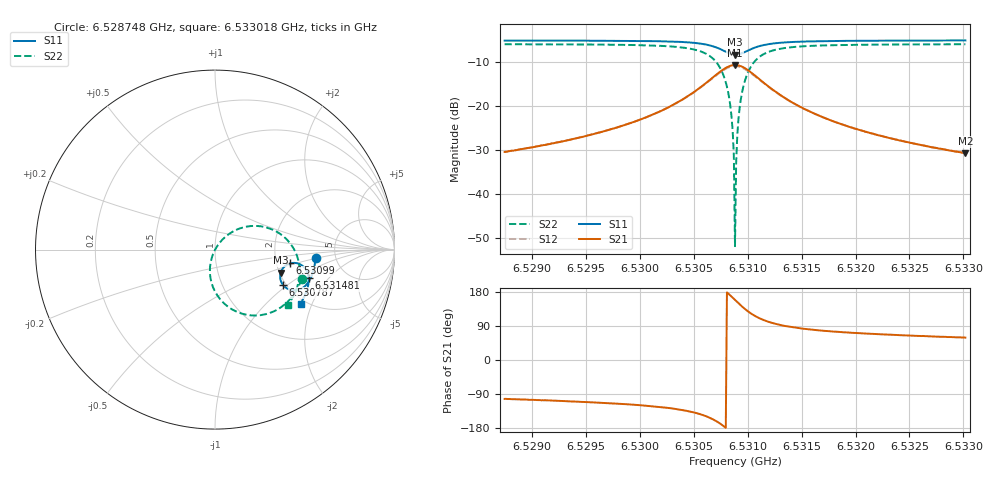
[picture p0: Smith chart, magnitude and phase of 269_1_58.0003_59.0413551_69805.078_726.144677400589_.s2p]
#  HZ  S  RI  R  50.00
! Rohde & Schwarz Vector Network Analyzer
! Rohde-Schwarz,ZNB20-2Port,1311601062101988,3.16
! Created: UTC 3/21/2024, 1:02:17 AM
! freq[Hz]  re:S11  im:S11  re:S21  im:S21  re:S12  im:S12  re:S22  im:S22
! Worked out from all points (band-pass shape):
!   401 points, 6.528748 GHz to 6.533018 GHz, reference 50 ohm
!   highest |S21| = -10.59 dB at 6.530883 GHz (marker M1); lowest = -30.7 dB at 6.533018 GHz (marker M2)
!   |S21| within 3 dB of the highest: 6.53067 GHz to 6.531098 GHz (427.1 kHz wide, 0.00654 % of centre)
!   lowest |S11| = -8.2 dB at 6.530883 GHz (marker M3), VSWR 2.27, Z = 101 - j30.9 ohm
!   |S11| at or under -10 dB: nowhere
!   |S22| runs from -52.0 to -5.8 dB; largest |S21 - S12| = 0.012
!   S11 on the Smith chart (normalised r, x): 6.528748 GHz: 3.50, -0.47; 6.530787 GHz: 1.93, -0.92; 6.53099 GHz: 2.38, -0.45; 6.531481 GHz: 2.76, -1.26; 6.533018 GHz: 1.87, -1.65
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6.5287483e9  0.5602 -0.0462  -0.0066 -0.0293  -0.00702 -0.0292  0.4841 -0.1625
6.5294635e9  0.5511 -0.1054  -0.0155 -0.0416  -0.0166 -0.0414  0.4541 -0.2267
6.5301787e9  0.5242 -0.1757  -0.0479 -0.0717  -0.0499 -0.0704  0.3747 -0.3163
6.5306057e9  0.4558 -0.2261  -0.1518 -0.0972  -0.1542 -0.0912  0.1754 -0.3628
6.5307125e9  0.4124 -0.2219  -0.2193 -0.072  -0.2185 -0.0629  0.062 -0.3098
6.5307872e9  0.3782 -0.1961  -0.2688 -0.0157  -0.2635 -0.00623  -0.0122 -0.2067
6.5308192e9  0.3676 -0.1768  -0.282 0.0214  -0.2745 0.0299  -0.0273 -0.1428
6.5308406e9  0.3638 -0.1617  -0.2855 0.0495  -0.2765 0.0568  -0.0276 -0.0959
6.5308512e9  0.363 -0.1536  -0.2849 0.0644  -0.2756 0.0706  -0.0243 -0.0719
6.5308619e9  0.363 -0.1454  -0.2833 0.079  -0.2733 0.0844  -0.0188 -0.0484
6.5308726e9  0.364 -0.1372  -0.28 0.0936  -0.2697 0.0982  -0.0108 -0.0249
6.5308833e9  0.3659 -0.1292  -0.2752 0.1079  -0.2648 0.1116  -0.000349 -0.0025
6.5309046e9  0.3721 -0.1139  -0.2615 0.1347  -0.2513 0.1366  0.0265 0.0389
6.5309153e9  0.3763 -0.1069  -0.253 0.1469  -0.2429 0.1478  0.0426 0.0571
6.5309366e9  0.3868 -0.0948  -0.2328 0.1679  -0.2236 0.1674  0.0793 0.0878
6.53099e9  0.4186 -0.0768  -0.1748 0.1992  -0.1682 0.1965  0.1802 0.1287
6.5310541e9  0.4548 -0.0754  -0.1111 0.2033  -0.1072 0.2002  0.2874 0.123
6.5311501e9  0.4911 -0.0933  -0.0487 0.1787  -0.0466 0.1768  0.3886 0.0674
6.531481e9  0.5223 -0.1602  0.0108 0.0988  0.0119 0.0985  0.4708 -0.0983
6.5315985e9  0.5222 -0.1771  0.0148 0.083  0.0158 0.0829  0.4717 -0.133
6.5323137e9  0.5033 -0.2492  0.017 0.0398  0.0178 0.0396  0.4427 -0.2471
6.5330182e9  0.4766 -0.3016  0.015 0.025  0.0155 0.0249  0.4076 -0.3071
